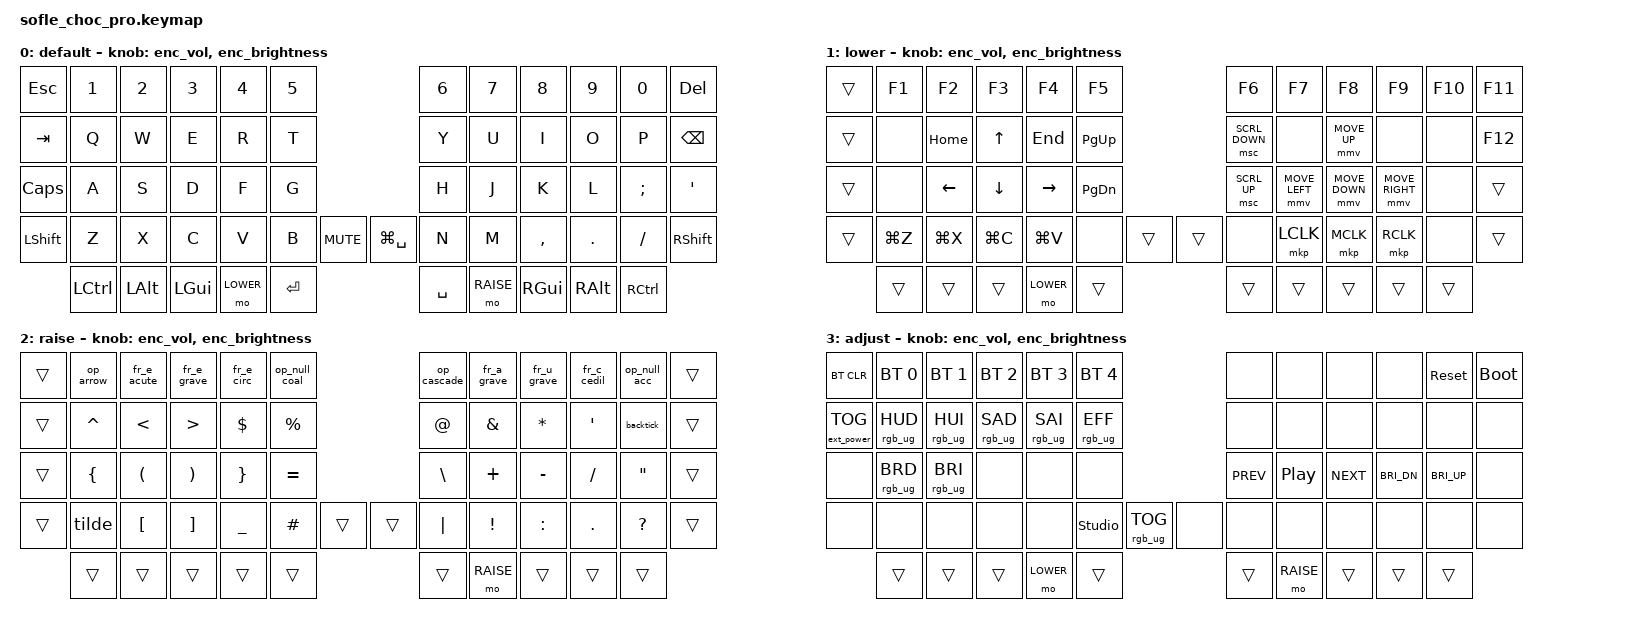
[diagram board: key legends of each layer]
/*
 * Sofle Choc Pro BT — Keebart
 * Layout : QWERTY macOS | Développeur Flutter / Dart / C#
 * Bluetooth : Christian
 *
 * Accents français via "Unicode Hex Input" (input source macOS)
 * Activer dans : Préférences Système → Clavier → Sources de saisie → Unicode Hex Input
 * Méthode : maintenir Option + taper les 4 chiffres hex du caractère Unicode
 *   é = 00E9 | è = 00E8 | ê = 00EA | à = 00E0 | ù = 00F9 | ç = 00E7
 */

#include <behaviors.dtsi>
#include <dt-bindings/zmk/keys.h>
#include <dt-bindings/zmk/bt.h>
#include <dt-bindings/zmk/rgb.h>
#include <dt-bindings/zmk/pointing.h>
#include <dt-bindings/zmk/ext_power.h>

#define DEFAULT 0
#define LOWER   1
#define RAISE   2
#define ADJUST  3

/ {

    // ─────────────────────────────────────────────────────────────────────────
    // Conditional layer : LOWER + RAISE → ADJUST
    // ─────────────────────────────────────────────────────────────────────────
    conditional_layers {
        compatible = "zmk,conditional-layers";
        adjust_layer {
            if-layers = <LOWER RAISE>;
            then-layer = <ADJUST>;
        };
    };

    // ─────────────────────────────────────────────────────────────────────────
    // Macros
    //   Accents français : Unicode Hex Input (Option + 4 chiffres hex)
    //   Opérateurs Dart  : séquences de touches
    // ─────────────────────────────────────────────────────────────────────────
    macros {

        // é — U+00E9
        fr_e_acute: fr_e_acute {
            compatible = "zmk,behavior-macro";
            #binding-cells = <0>;
            bindings =
                <&macro_press   &kp LALT>,
                <&macro_tap     &kp N0 &kp N0 &kp E &kp N9>,
                <&macro_release &kp LALT>;
        };

        // è — U+00E8
        fr_e_grave: fr_e_grave {
            compatible = "zmk,behavior-macro";
            #binding-cells = <0>;
            bindings =
                <&macro_press   &kp LALT>,
                <&macro_tap     &kp N0 &kp N0 &kp E &kp N8>,
                <&macro_release &kp LALT>;
        };

        // ê — U+00EA
        fr_e_circ: fr_e_circ {
            compatible = "zmk,behavior-macro";
            #binding-cells = <0>;
            bindings =
                <&macro_press   &kp LALT>,
                <&macro_tap     &kp N0 &kp N0 &kp E &kp A>,
                <&macro_release &kp LALT>;
        };

        // à — U+00E0
        fr_a_grave: fr_a_grave {
            compatible = "zmk,behavior-macro";
            #binding-cells = <0>;
            bindings =
                <&macro_press   &kp LALT>,
                <&macro_tap     &kp N0 &kp N0 &kp E &kp N0>,
                <&macro_release &kp LALT>;
        };

        // ù — U+00F9
        fr_u_grave: fr_u_grave {
            compatible = "zmk,behavior-macro";
            #binding-cells = <0>;
            bindings =
                <&macro_press   &kp LALT>,
                <&macro_tap     &kp N0 &kp N0 &kp F &kp N9>,
                <&macro_release &kp LALT>;
        };

        // ç — U+00E7
        fr_c_cedil: fr_c_cedil {
            compatible = "zmk,behavior-macro";
            #binding-cells = <0>;
            bindings =
                <&macro_press   &kp LALT>,
                <&macro_tap     &kp N0 &kp N0 &kp E &kp N7>,
                <&macro_release &kp LALT>;
        };

        // => fat arrow Dart / C#
        op_arrow: op_arrow {
            compatible = "zmk,behavior-macro";
            #binding-cells = <0>;
            bindings = <&kp EQUAL &kp GT>;
        };

        // ?? null coalescing Dart / C#
        op_null_coal: op_null_coal {
            compatible = "zmk,behavior-macro";
            #binding-cells = <0>;
            bindings = <&kp QMARK &kp QMARK>;
        };

        // .. cascade operator Dart / Flutter
        op_cascade: op_cascade {
            compatible = "zmk,behavior-macro";
            #binding-cells = <0>;
            bindings = <&kp DOT &kp DOT>;
        };

        // ?. null-aware access Dart
        op_null_acc: op_null_acc {
            compatible = "zmk,behavior-macro";
            #binding-cells = <0>;
            bindings = <&kp QMARK &kp DOT>;
        };

        // ` — U+0060
        backtick: backtick {
            compatible = "zmk,behavior-macro";
            #binding-cells = <0>;
            bindings =
                <&macro_press   &kp LALT>,
                <&macro_tap     &kp N0 &kp N0 &kp N6 &kp N0>,
                <&macro_release &kp LALT>;
        };

        // ~ — U+007E
        tilde: tilde {
            compatible = "zmk,behavior-macro";
            #binding-cells = <0>;
            bindings =
                <&macro_press   &kp LALT>,
                <&macro_tap     &kp N0 &kp N0 &kp N7 &kp E>,
                <&macro_release &kp LALT>;
        };
    };

    // ─────────────────────────────────────────────────────────────────────────
    // Encodeurs
    //   Gauche : volume  |  Droite : scroll souris
    // ─────────────────────────────────────────────────────────────────────────
    behaviors {
        enc_vol: enc_vol {
            compatible = "zmk,behavior-sensor-rotate";
            #sensor-binding-cells = <0>;
            bindings = <&kp C_VOL_DN>, <&kp C_VOL_UP>;
        };
        enc_brightness: enc_brightness {
            compatible = "zmk,behavior-sensor-rotate";
            #sensor-binding-cells = <0>;
            bindings = <&kp C_BRI_DN>, <&kp C_BRI_UP>;
        };
    };

    // ─────────────────────────────────────────────────────────────────────────
    // Keymap
    // ─────────────────────────────────────────────────────────────────────────
    keymap {
        compatible = "zmk,keymap";

// ── Layer 0 — Default (QWERTY) ────────────────────────────────────────
//
// ╭───────┬───────┬───────┬───────┬───────┬───────╮                   ╭───────┬───────┬───────┬───────┬───────┬───────╮
// │  ESC  │   1   │   2   │   3   │   4   │   5   │                   │   6   │   7   │   8   │   9   │   0   │  DEL  │
// ├───────┼───────┼───────┼───────┼───────┼───────┤                   ├───────┼───────┼───────┼───────┼───────┼───────┤
// │  TAB  │   Q   │   W   │   E   │   R   │   T   │                   │   Y   │   U   │   I   │   O   │   P   │ BKSPC │
// ├───────┼───────┼───────┼───────┼───────┼───────┤                   ├───────┼───────┼───────┼───────┼───────┼───────┤
// │ CAPS  │   A   │   S   │   D   │   F   │   G   │                   │   H   │   J   │   K   │   L   │   ;   │   '   │
// ├───────┼───────┼───────┼───────┼───────┼───────┼────────╮ ╭────────┼───────┼───────┼───────┼───────┼───────┼───────┤
// │ SHIFT │   Z   │   X   │   C   │   V   │   B   │  MUTE  │ │SPOTLGHT│   N   │   M   │   ,   │   .   │   /   │ SHIFT │
// ╰───────┴───────┼───────┼───────┼───────┼───────┼────────┤ ├────────┼───────┼───────┼───────┼───────┼───────┴───────╯
//                 │ CTRL  │  ALT  │  GUI  │ LOWER │ ENTER  │ │ SPACE  │ RAISE │  GUI  │  ALT  │ CTRL  │
//                 ╰───────┴───────┴───────┴───────┴────────╯ ╰────────┴───────┴───────┴───────┴───────╯

        default_layer {
            display-name = "default";
            bindings = <
&kp ESC   &kp N1    &kp N2   &kp N3   &kp N4    &kp N5                           &kp N6    &kp N7    &kp N8    &kp N9   &kp N0   &kp DEL
&kp TAB   &kp Q     &kp W    &kp E    &kp R     &kp T                            &kp Y     &kp U     &kp I     &kp O    &kp P    &kp BSPC
&kp CAPS  &kp A     &kp S    &kp D    &kp F     &kp G                            &kp H     &kp J     &kp K     &kp L    &kp SEMI &kp SQT
&kp LSHFT &kp Z     &kp X    &kp C    &kp V     &kp B   &kp C_MUTE &kp LG(SPACE) &kp N     &kp M     &kp COMMA &kp DOT  &kp FSLH &kp RSHFT
          &kp LCTRL &kp LALT &kp LGUI &mo LOWER &kp RET                          &kp SPACE &mo RAISE &kp RGUI  &kp RALT &kp RCTRL
            >;
            sensor-bindings = <&enc_vol &enc_brightness>;
        };

// ── Layer 1 — Lower (navigation + souris) ────────────────────────────
//
// ╭───────┬───────┬───────┬───────┬───────┬───────╮                   ╭───────┬───────┬───────┬───────┬───────┬───────╮
// │       │  F1   │  F2   │  F3   │  F4   │  F5   │                   │  F6   │  F7   │  F8   │  F9   │  F10  │  F11  │
// ├───────┼───────┼───────┼───────┼───────┼───────┤                   ├───────┼───────┼───────┼───────┼───────┼───────┤
// │       │       │ HOME  │   ↑   │  END  │ PG_UP │                   │ SCR_U │       │ MV_U  │       │       │  F12  │
// ├───────┼───────┼───────┼───────┼───────┼───────┤                   ├───────┼───────┼───────┼───────┼───────┼───────┤
// │       │       │   ←   │   ↓   │   →   │ PG_DN │                   │ SCR_D │ MV_L  │ MV_D  │ MV_R  │       │       │
// ├───────┼───────┼───────┼───────┼───────┼───────┼────────╮ ╭────────┼───────┼───────┼───────┼───────┼───────┼───────┤
// │       │ UNDO  │  CUT  │ COPY  │ PASTE │       │        │ │        │       │ LCLK  │ MCLK  │ RCLK  │       │       │
// ╰───────┴───────┼───────┼───────┼───────┼───────┼────────┤ ├────────┼───────┼───────┼───────┼───────┼───────┴───────╯
//                 │       │       │       │ LOWER │        │ │        │       │       │       │       │
//                 ╰───────┴───────┴───────┴───────┴────────╯ ╰────────┴───────┴───────┴───────┴───────╯

        lower_layer {
            display-name = "lower";
            bindings = <
&trans &kp F1    &kp F2    &kp F3    &kp F4    &kp F5                  &kp F6         &kp F7         &kp F8         &kp F9          &kp F10 &kp F11
&trans &none     &kp HOME  &kp UP    &kp END   &kp PG_UP               &msc SCRL_DOWN &none          &mmv MOVE_UP   &none           &none   &kp F12
&trans &none     &kp LEFT  &kp DOWN  &kp RIGHT &kp PG_DN               &msc SCRL_UP   &mmv MOVE_LEFT &mmv MOVE_DOWN &mmv MOVE_RIGHT &none   &trans
&trans &kp LG(Z) &kp LG(X) &kp LG(C) &kp LG(V) &none     &trans &trans &none          &mkp LCLK      &mkp MCLK      &mkp RCLK       &none   &trans
                 &trans    &trans    &trans    &mo LOWER &trans &trans &trans         &trans         &trans         &trans
            >;
            sensor-bindings = <&enc_vol &enc_brightness>;
        };

// ── Layer 2 — Raise (symboles + accents + opérateurs dev) ────────────
//
// ╭───────┬───────┬───────┬───────┬───────┬───────╮                   ╭───────┬───────┬───────┬───────┬───────┬───────╮
// │       │  =>   │   é   │   è   │   ê   │  ??   │                   │  ..   │   à   │   ù   │   ç   │  ?.   │       │
// ├───────┼───────┼───────┼───────┼───────┼───────┤                   ├───────┼───────┼───────┼───────┼───────┼───────┤
// │       │   ^   │   <   │   >   │   $   │   %   │                   │   @   │   &   │   *   │   '   │   `   │       │
// ├───────┼───────┼───────┼───────┼───────┼───────┤                   ├───────┼───────┼───────┼───────┼───────┼───────┤
// │       │   {   │   (   │   )   │   }   │   =   │                   │   \   │   +   │   -   │   /   │   "   │       │
// ├───────┼───────┼───────┼───────┼───────┼───────┼────────╮ ╭────────┼───────┼───────┼───────┼───────┼───────┼───────┤
// │       │   ~   │   [   │   ]   │   _   │   #   │        │ │        │   |   │   !   │   :   │   .   │   ?   │       │
// ╰───────┴───────┼───────┼───────┼───────┼───────┼────────┤ ├────────┼───────┼───────┼───────┼───────┼───────┴───────╯
//                 │       │       │       │       │        │ │        │ RAISE │       │       │       │
//                 ╰───────┴───────┴───────┴───────┴────────╯ ╰────────┴───────┴───────┴───────┴───────╯

        raise_layer {
            display-name = "raise";
            bindings = <
&trans &op_arrow &fr_e_acute &fr_e_grave &fr_e_circ &op_null_coal               &op_cascade &fr_a_grave &fr_u_grave &fr_c_cedil &op_null_acc &trans
&trans &kp CARET &kp LT      &kp GT      &kp DLLR   &kp PRCNT                   &kp AT      &kp AMPS    &kp ASTRK   &kp SQT     &backtick    &trans
&trans &kp LBRC  &kp LPAR    &kp RPAR    &kp RBRC   &kp EQUAL                   &kp BSLH    &kp PLUS    &kp MINUS   &kp FSLH    &kp DQT      &trans
&trans &tilde    &kp LBKT    &kp RBKT    &kp UNDER  &kp HASH      &trans &trans &kp PIPE    &kp EXCL    &kp COLON   &kp DOT     &kp QMARK    &trans
                 &trans      &trans      &trans     &trans        &trans &trans &mo RAISE   &trans      &trans      &trans
            >;
            sensor-bindings = <&enc_vol &enc_brightness>;
        };

// ── Layer 3 — Adjust (Bluetooth + RGB + Media + Reset) ───────────────
//   Activé par LOWER + RAISE simultanément
//
// ╭───────┬───────┬───────┬───────┬───────┬───────╮                   ╭───────┬───────┬───────┬───────┬───────┬───────╮
// │BTCLR  │  BT1  │  BT2  │  BT3  │  BT4  │  BT5  │                   │       │       │       │       │ RESET │  BOOT │
// ├───────┼───────┼───────┼───────┼───────┼───────┤                   ├───────┼───────┼───────┼───────┼───────┼───────┤
// │EXTPWR │RGB_HUD│RGB_HUI│RGB_SAD│RGB_SAI│RGB_EFF│                   │       │       │       │       │       │       │
// ├───────┼───────┼───────┼───────┼───────┼───────┤                   ├───────┼───────┼───────┼───────┼───────┼───────┤
// │       │RGB_BRD│RGB_BRI│       │       │       │                   │ C_PRV │ C_PP  │ C_NXT │BRI_DN │BRI_UP │       │
// ├───────┼───────┼───────┼───────┼───────┼───────┼────────╮ ╭────────┼───────┼───────┼───────┼───────┼───────┼───────┤
// │       │       │       │       │       │STUDIO │RGB_TOG │ │        │       │       │       │       │       │       │
// ╰───────┴───────┼───────┼───────┼───────┼───────┼────────┤ ├────────┼───────┼───────┼───────┼───────┼───────┴───────╯
//                 │       │       │       │ LOWER │        │ │        │ RAISE │       │       │       │
//                 ╰───────┴───────┴───────┴───────┴────────╯ ╰────────┴───────┴───────┴───────┴───────╯

        adjust_layer {
            display-name = "adjust";
            bindings = <
&bt BT_CLR        &bt BT_SEL 0    &bt BT_SEL 1    &bt BT_SEL 2    &bt BT_SEL 3    &bt BT_SEL 4                          &none      &none     &none      &none        &sys_reset   &bootloader
&ext_power EP_TOG &rgb_ug RGB_HUD &rgb_ug RGB_HUI &rgb_ug RGB_SAD &rgb_ug RGB_SAI &rgb_ug RGB_EFF                       &none      &none     &none      &none        &none        &none
&none             &rgb_ug RGB_BRD &rgb_ug RGB_BRI &none           &none           &none                                 &kp C_PREV &kp C_PP  &kp C_NEXT &kp C_BRI_DN &kp C_BRI_UP &none
&none             &none           &none           &none           &none           &studio_unlock  &rgb_ug RGB_TOG &none &none      &none     &none      &none        &none        &none
                                  &trans          &trans          &trans          &mo LOWER       &trans                &trans     &mo RAISE &trans     &trans       &trans
            >;
            sensor-bindings = <&enc_vol &enc_brightness>;
        };
    };
};
